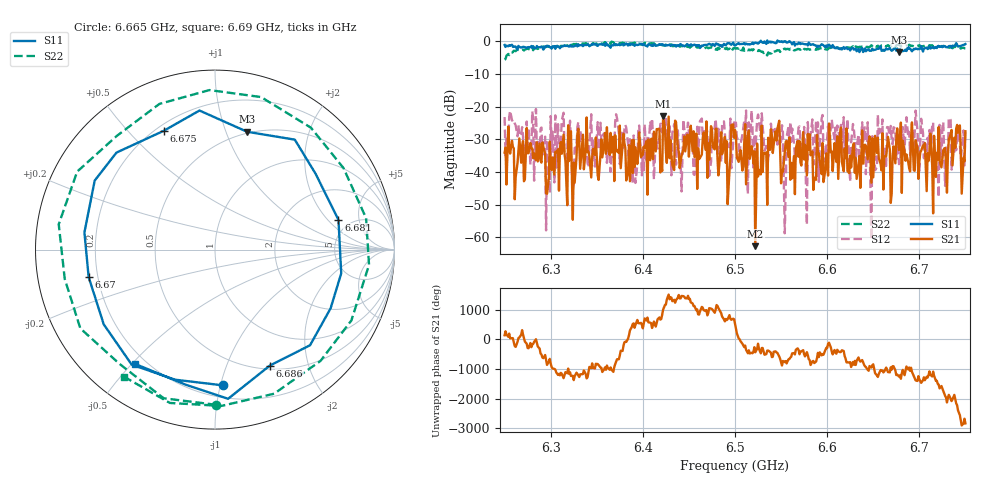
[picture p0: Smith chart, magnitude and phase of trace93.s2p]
# Hz S RI R 50
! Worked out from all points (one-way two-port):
!   401 points, 6.25 GHz to 6.75 GHz, reference 50 ohm
!   highest |S21| = -22.78 dB at 6.422 GHz (marker M1); lowest = -62.7 dB at 6.522 GHz (marker M2)
!   lowest |S11| = -3.3 dB at 6.678 GHz (marker M3), VSWR 5.26, Z = 24.3 + j59.4 ohm
!   |S11| at or under -10 dB: nowhere
!   |S22| runs from -5.6 to -0.1 dB; largest |S21 - S12| = 0.11
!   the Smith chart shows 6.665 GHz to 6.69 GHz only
!   S11 on the Smith chart (normalised r, x): 6.665 GHz: 0.29, -1.02; 6.67 GHz: 0.16, -0.10; 6.675 GHz: 0.23, +0.63; 6.681 GHz: 4.00, +2.65; 6.686 GHz: 0.54, -1.44; 6.69 GHz: 0.16, -0.51
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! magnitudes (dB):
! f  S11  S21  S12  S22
! 6.25 GHz  -1.1  -34.0  -23.2  -5.6
! 6.296 GHz  -1.3  -46.7  -30.4  -1.5
! 6.334 GHz  -1.1  -32.1  -30.0  -0.7
! 6.418 GHz  -0.8  -26.7  -29.4  -1.0
! 6.422 GHz  -1.0  -22.8  -25.4  -1.2
! 6.5 GHz  -1.2  -27.1  -26.8  -2.1
! 6.522 GHz  -0.3  -62.7  -34.0  -2.5
! 6.545 GHz  -0.5  -30.3  -26.0  -2.9
! 6.556 GHz  -0.4  -30.4  -29.3  -2.3
! 6.56 GHz  -0.1  -42.4  -24.7  -2.2
! 6.584 GHz  -0.9  -33.7  -23.9  -2.3
! 6.665 GHz  -2.4  -32.3  -26.2  -1.3
! 6.668 GHz  -2.0  -33.1  -28.8  -1.6
! 6.67 GHz  -2.8  -46.7  -29.9  -1.4
! 6.675 GHz  -2.8  -30.3  -36.0  -1.2
! 6.678 GHz  -3.3  -33.2  -37.6  -1.0
! 6.681 GHz  -3.0  -46.4  -30.6  -1.3
! 6.686 GHz  -2.9  -34.6  -23.2  -1.2
! 6.69 GHz  -2.2  -39.8  -34.8  -1.2
! 6.712 GHz  -2.2  -28.2  -31.4  -1.4
! 6.719 GHz  -2.0  -34.1  -39.6  -1.4
! 6.75 GHz  -0.8  -27.5  -26.8  -2.1
